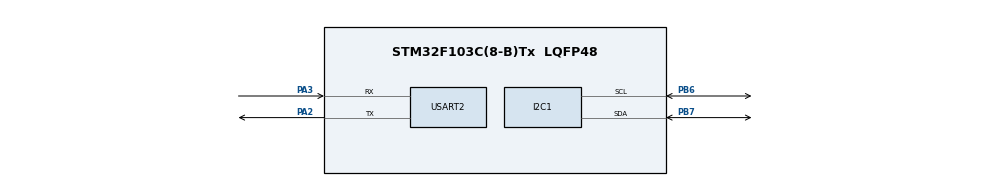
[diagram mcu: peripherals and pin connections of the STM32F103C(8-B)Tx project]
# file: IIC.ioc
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Dma.I2C1_RX.0.Direction=DMA_PERIPH_TO_MEMORY
Dma.I2C1_RX.0.Instance=DMA1_Channel7
Dma.I2C1_RX.0.MemDataAlignment=DMA_MDATAALIGN_BYTE
Dma.I2C1_RX.0.MemInc=DMA_MINC_ENABLE
Dma.I2C1_RX.0.Mode=DMA_NORMAL
Dma.I2C1_RX.0.PeriphDataAlignment=DMA_PDATAALIGN_BYTE
Dma.I2C1_RX.0.PeriphInc=DMA_PINC_DISABLE
Dma.I2C1_RX.0.Priority=DMA_PRIORITY_LOW
Dma.I2C1_TX.1.Direction=DMA_MEMORY_TO_PERIPH
Dma.I2C1_TX.1.Instance=DMA1_Channel6
Dma.I2C1_TX.1.MemDataAlignment=DMA_MDATAALIGN_BYTE
Dma.I2C1_TX.1.MemInc=DMA_MINC_ENABLE
Dma.I2C1_TX.1.Mode=DMA_NORMAL
Dma.I2C1_TX.1.PeriphDataAlignment=DMA_PDATAALIGN_BYTE
Dma.I2C1_TX.1.PeriphInc=DMA_PINC_DISABLE
Dma.I2C1_TX.1.Priority=DMA_PRIORITY_LOW
Dma.Request0=I2C1_RX
Dma.Request1=I2C1_TX
Mcu.Family=STM32F1
Mcu.Name=STM32F103C(8-B)Tx
Mcu.Package=LQFP48
NVIC.DMA1_Channel6_IRQn=true\:0\:0\:false\:false\:true\:false\:true\:true
NVIC.DMA1_Channel7_IRQn=true\:0\:0\:false\:false\:true\:false\:true\:true
NVIC.I2C1_ER_IRQn=true\:0\:0\:false\:false\:true\:true\:true\:true
NVIC.I2C1_EV_IRQn=true\:0\:0\:false\:false\:true\:true\:true\:true
NVIC.PriorityGroup=NVIC_PRIORITYGROUP_4
PA13.Mode=Serial_Wire
PA13.Signal=SYS_JTMS-SWDIO
PA14.Mode=Serial_Wire
PA14.Signal=SYS_JTCK-SWCLK
PA2.Mode=Asynchronous
PA2.Signal=USART2_TX
PA3.Mode=Asynchronous
PA3.Signal=USART2_RX
PB6.Mode=I2C
PB6.Signal=I2C1_SCL
PB7.Mode=I2C
PB7.Signal=I2C1_SDA
ProjectManager.HeapSize=0x200
ProjectManager.StackSize=0x400
ProjectManager.TargetToolchain=CMake
RCC.APB1Freq_Value=8000000
RCC.APB2Freq_Value=8000000
USART2.VirtualMode=VM_ASYNC
board=custom

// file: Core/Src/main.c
/* USER CODE BEGIN Header */
/**
  ******************************************************************************
  * @file           : main.c
  * @brief          : Main program body
  ******************************************************************************
  * @attention
  *
  * Copyright (c) 2026 STMicroelectronics.
  * All rights reserved.
  *
  * This software is licensed under terms that can be found in the LICENSE file
  * in the root directory of this software component.
  * If no LICENSE file comes with this software, it is provided AS-IS.
  *
  ******************************************************************************
  */
/* USER CODE END Header */
#include "main.h"
#include "dma.h"
#include "i2c.h"
#include "usart.h"
#include "gpio.h"

/* USER CODE BEGIN Includes */
#include "aht20.h"    /* AHT20 温湿度传感器驱动头文件 */
#include "stdio.h"    /* 标准输入输出库，用于 sprintf 格式化字符串 */
#include "string.h"   /* 字符串操作库，用于 strlen 获取字符串长度 */
/* USER CODE END Includes */

/* USER CODE BEGIN PV */
//状态机|0：初始状态 1：发送指令中 2：发送完成（将数据保存在变量中） 3：接收数据中 4：接收完成（计算并输出数据）
uint8_t aht20_zhuangtai = 0;   /* AHT20 状态机 */
float aht20_wendu, aht20_shidu; /* AHT20 温度和湿度读数 */
/* USER CODE END PV */

void SystemClock_Config(void);

int main(void)
{

  /* MCU Configuration--------------------------------------------------------*/

  /* Reset of all peripherals, Initializes the Flash interface and the Systick. */
  HAL_Init();

  /* Configure the system clock */
  SystemClock_Config();

  /* Initialize all configured peripherals */
  MX_GPIO_Init();
  MX_DMA_Init();
  MX_I2C1_Init();
  MX_USART2_UART_Init();
  /* USER CODE BEGIN 2 */
  AHT20_init();         /* 初始化 AHT20 温湿度传感器 */

  char message[100];    /* 串口发送缓冲区 */
  /* USER CODE END 2 */

  /* Infinite loop */
  /* USER CODE BEGIN WHILE */
  while (1)
  {
    if(aht20_zhuangtai == 0){         /* 状态0：发送测量指令 */
      AHT20_fasong();
      aht20_zhuangtai = 1;
    }else if(aht20_zhuangtai == 2){   /* 状态2：指令发送完成，开始接收数据 */
      AHT20_jieshou();
      aht20_zhuangtai = 3;
    }else if(aht20_zhuangtai == 4){   /* 状态4：数据接收完成，计算并输出 */
      AHT20_jisuan(&aht20_wendu, &aht20_shidu);                        /* 计算温湿度 */
      sprintf(message, "温度：%.2f ℃, 湿度：%.2f %%\r\n", aht20_wendu, aht20_shidu); /* 格式化输出 */
      HAL_UART_Transmit(&huart2, (uint8_t*)message, strlen(message), 100); /* 串口发送结果 */
      HAL_Delay(1000);                                                  /* 延时1秒 */
      aht20_zhuangtai = 0;                                              /* 回到初始状态 */
    }
    /* USER CODE END WHILE */

  }
}

void SystemClock_Config(void)
{
  RCC_OscInitTypeDef RCC_OscInitStruct = {0};
  RCC_ClkInitTypeDef RCC_ClkInitStruct = {0};

  /** Initializes the RCC Oscillators according to the specified parameters
  * in the RCC_OscInitTypeDef structure.
  */
  RCC_OscInitStruct.OscillatorType = RCC_OSCILLATORTYPE_HSI;
  RCC_OscInitStruct.HSIState = RCC_HSI_ON;
  RCC_OscInitStruct.HSICalibrationValue = RCC_HSICALIBRATION_DEFAULT;
  RCC_OscInitStruct.PLL.PLLState = RCC_PLL_NONE;
  if (HAL_RCC_OscConfig(&RCC_OscInitStruct) != HAL_OK)
  {
    Error_Handler();
  }

  /** Initializes the CPU, AHB and APB buses clocks
  */
  RCC_ClkInitStruct.ClockType = RCC_CLOCKTYPE_HCLK|RCC_CLOCKTYPE_SYSCLK
                              |RCC_CLOCKTYPE_PCLK1|RCC_CLOCKTYPE_PCLK2;
  RCC_ClkInitStruct.SYSCLKSource = RCC_SYSCLKSOURCE_HSI;
  RCC_ClkInitStruct.AHBCLKDivider = RCC_SYSCLK_DIV1;
  RCC_ClkInitStruct.APB1CLKDivider = RCC_HCLK_DIV1;
  RCC_ClkInitStruct.APB2CLKDivider = RCC_HCLK_DIV1;

  if (HAL_RCC_ClockConfig(&RCC_ClkInitStruct, FLASH_LATENCY_0) != HAL_OK)
  {
    Error_Handler();
  }
}

void Error_Handler(void)
{
  __disable_irq();
  while (1)
  {
  }
}
